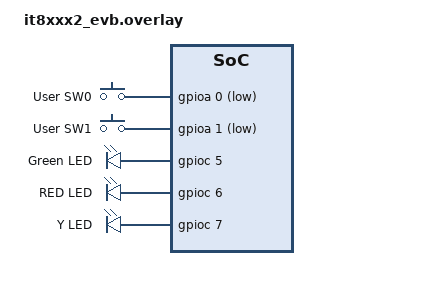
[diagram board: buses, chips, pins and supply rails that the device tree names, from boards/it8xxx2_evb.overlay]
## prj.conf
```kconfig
CONFIG_SHELL=y
```

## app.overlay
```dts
/*
 * Copyright (c) 2023 ITE Corporation.
 *
 * SPDX-License-Identifier: Apache-2.0
 */

/ {

	button {
		compatible = "gpio-keys";
		sw0: button_0 {
			gpios = <&gpioa 0 GPIO_ACTIVE_LOW>;
			label = "User SW0";
		};
		sw1: button_1 {
			gpios = <&gpioa 1 GPIO_ACTIVE_LOW>;
			label = "User SW1";
		};
	};
	leds {
		compatible = "gpio-leds";
		led1: led_1 {
			gpios = <&gpioc 5 GPIO_ACTIVE_HIGH>;
			label = "RED LED";
		};
		led2: led_2 {
			gpios = <&gpioc 6 GPIO_ACTIVE_HIGH>;
			label = "Yellow LED";
		};
	};
};
```

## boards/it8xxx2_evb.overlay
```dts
/*
 * Copyright (c) 2023 ITE Corporation.
 *
 * SPDX-License-Identifier: Apache-2.0
 */

/ {

	button {
		compatible = "gpio-keys";
		sw0: button_0 {
			gpios = <&gpioa 0 GPIO_ACTIVE_LOW>;
			label = "User SW0";
		};
		sw1: button_1 {
			gpios = <&gpioa 1 GPIO_ACTIVE_LOW>;
			label = "User SW1";
		};
	};
	leds {
		compatible = "gpio-leds";
		led0: led_0 {
			gpios = <&gpioc 5 GPIO_ACTIVE_HIGH>;
			label = "Green LED";
		};
		led1: led_1 {
			gpios = <&gpioc 6 GPIO_ACTIVE_HIGH>;
			label = "RED LED";
		};
		led2: led_2 {
			gpios = <&gpioc 7 GPIO_ACTIVE_HIGH>;
			label = "Y LED";
		};
	};
};
```

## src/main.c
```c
/*
 * Copyright (c) 2016 Open-RnD Sp. z o.o.
 * Copyright (c) 2020 Nordic Semiconductor ASA
 *
 * SPDX-License-Identifier: Apache-2.0
 */

#include <zephyr/kernel.h>
#include <zephyr/device.h>
#include <zephyr/drivers/gpio.h>
#include <zephyr/sys/util.h>
#include <zephyr/sys/printk.h>
#include <inttypes.h>

#define SLEEP_TIME_MS	1

static const struct gpio_dt_spec button1 = GPIO_DT_SPEC_GET(DT_NODELABEL(sw0), gpios);
static struct gpio_callback button1_cb_data;
static const struct gpio_dt_spec button2 = GPIO_DT_SPEC_GET(DT_NODELABEL(sw1), gpios);
static struct gpio_callback button2_cb_data;

static struct gpio_dt_spec led1 = GPIO_DT_SPEC_GET(DT_NODELABEL(led1), gpios);
static struct gpio_dt_spec led2 = GPIO_DT_SPEC_GET(DT_NODELABEL(led2), gpios);

static struct k_thread tdata1;
static struct k_thread tdata2;

struct k_sem sem_thread1;
struct k_sem sem_thread2;

#define STACK_SIZE  512
K_THREAD_STACK_DEFINE(thread1_stack, STACK_SIZE);
K_THREAD_STACK_DEFINE(thread2_stack, STACK_SIZE);

#define thread1_prio  2
#define thread2_prio  1

void thread1_entry(void *p1, void *p2, void *p3) {

	printk("thread1_entry\n");
	while (1) {
		/* Suspend thread1 */
		k_sem_take(&sem_thread1, K_FOREVER);

		for (int i=0;i<10;i++) {
			printk("Thread 1: Flashing at 0.5s intervals.\n");
			gpio_pin_toggle_dt(&led1);

			k_busy_wait(500000);
		}
	}
}

void thread2_entry(void *p1, void *p2, void *p3) {

	printk("thread2_entry\n");
	while (1) {
		/* Suspend thread2 */
		k_sem_take(&sem_thread2, K_FOREVER);

		printk("Main thread: Button2 makes the light toggle.\n");
		gpio_pin_toggle_dt(&led2);
		printk("Main thread: end!\n");
	}
}

void button1_pressed(const struct device *dev, struct gpio_callback *cb,
		    uint32_t pins)
{
	/* Wake up theard1 */
	k_sem_give(&sem_thread1);
}
		    
void button2_pressed(const struct device *dev, struct gpio_callback *cb,
		    uint32_t pins)
{
	/* Wake up theard2 */
	k_sem_give(&sem_thread2);
}

void gpio_button1_init(void) {
	int ret;

	if (!gpio_is_ready_dt(&button1)) {
		printk("Error: button device %s is not ready\n",
		       button1.port->name);
		return;
	}

	ret = gpio_pin_configure_dt(&button1, GPIO_INPUT | GPIO_PULL_UP);
	if (ret != 0) {
		printk("Error %d: failed to configure %s pin %d\n",
		       ret, button1.port->name, button1.pin);
		return;
	}

	ret = gpio_pin_interrupt_configure_dt(&button1,
					      GPIO_INT_EDGE_FALLING);
	if (ret != 0) {
		printk("Error %d: failed to configure interrupt on %s pin %d\n",
			ret, button1.port->name, button1.pin);
		return;
	}

	gpio_init_callback(&button1_cb_data, button1_pressed, BIT(button1.pin));
	gpio_add_callback(button1.port, &button1_cb_data);

	printk("Set up button at %s pin %d\n", button1.port->name, button1.pin);
}

void gpio_button2_init(void) {
	int ret;

	if (!gpio_is_ready_dt(&button2)) {
		printk("Error: button device %s is not ready\n",
		       button2.port->name);
		return;
	}

	ret = gpio_pin_configure_dt(&button2, GPIO_INPUT | GPIO_PULL_UP);
	if (ret != 0) {
		printk("Error %d: failed to configure %s pin %d\n",
		       ret, button2.port->name, button2.pin);
		return;
	}

	ret = gpio_pin_interrupt_configure_dt(&button2,
					      GPIO_INT_EDGE_FALLING);
	if (ret != 0) {
		printk("Error %d: failed to configure interrupt on %s pin %d\n",
			ret, button2.port->name, button2.pin);
		return;
	}

	gpio_init_callback(&button2_cb_data, button2_pressed, BIT(button2.pin));
	gpio_add_callback(button2.port, &button2_cb_data);

	printk("Set up button at %s pin %d\n", button2.port->name, button2.pin);
}

void gpio_led1_init(void) {
	int ret;

	if (led1.port && !device_is_ready(led1.port)) {
		printk("Error: LED device %s is not ready; ignoring it\n", led1.port->name);
		led1.port = NULL;

		return;
	}
	if (led1.port) {
		ret = gpio_pin_configure_dt(&led1, GPIO_OUTPUT);
		if (ret != 0) {
			printk("Error %d: failed to configure LED device %s pin %d\n",
			       ret, led1.port->name, led1.pin);
			led1.port = NULL;

			return;
		} else {
			printk("Set up LED at %s pin %d\n", led1.port->name, led1.pin);
		}
	}
}

void gpio_led2_init(void) {
	int ret;

	if (led2.port && !device_is_ready(led2.port)) {
		printk("Error: LED device %s is not ready; ignoring it\n", led2.port->name);
		led2.port = NULL;

		return;
	}
	if (led2.port) {
		ret = gpio_pin_configure_dt(&led2, GPIO_OUTPUT);
		if (ret != 0) {
			printk("Error %d: failed to configure LED device %s pin %d\n",
			       ret, led2.port->name, led2.pin);
			led2.port = NULL;

			return;
		} else {
			printk("Set up LED at %s pin %d\n", led2.port->name, led2.pin);
		}
	}
}

int main(void)
{
	/* Button initialization */
	gpio_button1_init();
	gpio_button2_init();

	/* LED initialization */
	gpio_led1_init();
	gpio_led2_init();

	k_sem_init(&sem_thread1, 0, 1);
	k_sem_init(&sem_thread2, 0, 1);

	/* Thread1 create */
	k_thread_create(&tdata1, thread1_stack, STACK_SIZE,
				      thread1_entry, NULL, NULL, NULL,
				      thread1_prio, 0, K_NO_WAIT);

	/* Thread2 create */
	k_thread_create(&tdata2, thread2_stack, STACK_SIZE,
				      thread2_entry, NULL, NULL, NULL,
				      thread2_prio, 0, K_NO_WAIT);

	return 0;
}
```
